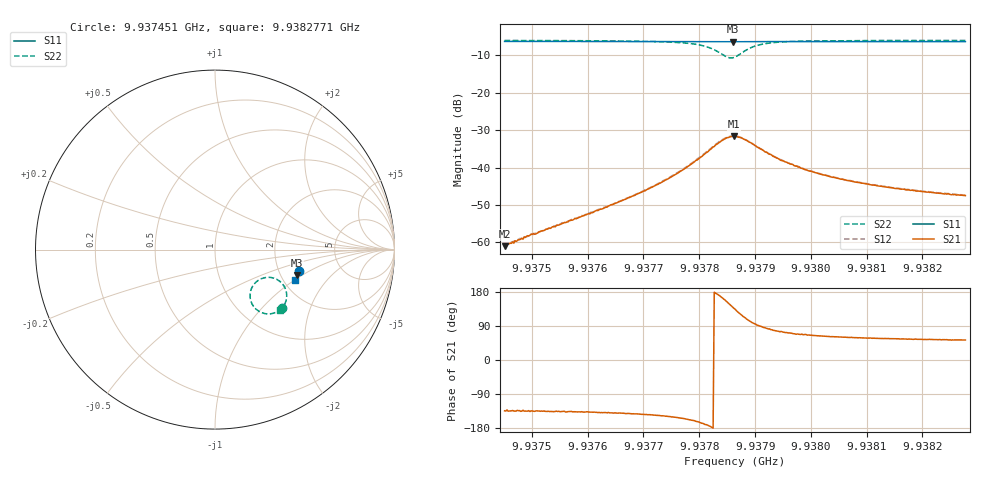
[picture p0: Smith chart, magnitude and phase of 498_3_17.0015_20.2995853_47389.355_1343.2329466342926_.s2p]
#  HZ  S  RI  R  50.00
! Rohde & Schwarz Vector Network Analyzer
! Rohde-Schwarz,ZNB20-2Port,1311601062101988,3.16
! Created: UTC 3/20/2024, 11:14:23 PM
! freq[Hz]  re:S11  im:S11  re:S21  im:S21  re:S12  im:S12  re:S22  im:S22
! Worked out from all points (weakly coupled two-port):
!   401 points, 9.937451 GHz to 9.9382771 GHz, reference 50 ohm
!   highest |S21| = -31.64 dB at 9.937862 GHz (marker M1); lowest = -61.0 dB at 9.937451 GHz (marker M2)
!   lowest |S11| = -6.4 dB at 9.9378599 GHz (marker M3), VSWR 2.83, Z = 122 - j45.4 ohm
!   |S11| at or under -10 dB: nowhere
!   |S22| runs from -10.7 to -6.1 dB; largest |S21 - S12| = 0.0013
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9.93745102e9  0.4683 -0.1184  -0.000621 -0.000641  -0.000647 -0.000675  0.3741 -0.3271
9.93749438e9  0.4673 -0.1213  -0.000845 -0.000887  -0.00088 -0.000851  0.37 -0.3304
9.93758938e9  0.4649 -0.1277  -0.00162 -0.00155  -0.0017 -0.00154  0.3585 -0.3391
9.93766166e9  0.4633 -0.1324  -0.00278 -0.00232  -0.00286 -0.00228  0.3447 -0.347
9.93772775e9  0.4614 -0.137  -0.00508 -0.0034  -0.00526 -0.00335  0.3218 -0.3555
9.93776905e9  0.4602 -0.1399  -0.00823 -0.00405  -0.00842 -0.00397  0.2939 -0.3583
9.93781242e9  0.4583 -0.1427  -0.0156 -0.00259  -0.016 -0.00225  0.2353 -0.3376
9.93782688e9  0.4574 -0.1434  -0.0191 0.000411  -0.0198 0.000963  0.21 -0.3089
9.93784133e9  0.4566 -0.1437  -0.0222 0.00636  -0.0225 0.00708  0.1955 -0.2579
9.93785166e9  0.4563 -0.1436  -0.022 0.0123  -0.0222 0.0132  0.2056 -0.2118
9.93785992e9  0.456 -0.1436  -0.0197 0.0169  -0.0195 0.0179  0.2308 -0.1791
9.93786198e9  0.4562 -0.1435  -0.019 0.018  -0.0187 0.0189  0.2389 -0.1727
9.93786405e9  0.4562 -0.1435  -0.0182 0.0186  -0.0176 0.0198  0.2477 -0.1674
9.93787438e9  0.4565 -0.1436  -0.0126 0.0216  -0.012 0.0223  0.2945 -0.1545
9.93788883e9  0.457 -0.1446  -0.00545 0.0213  -0.00486 0.0218  0.3483 -0.1682
9.93791155e9  0.4572 -0.1462  0.000512 0.0175  0.000962 0.0175  0.3883 -0.2097
9.93794872e9  0.4568 -0.1494  0.00335 0.0119  0.00372 0.012  0.3998 -0.2582
9.93800242e9  0.4556 -0.1532  0.00374 0.00801  0.00391 0.00798  0.3937 -0.2918
9.93806437e9  0.4539 -0.1574  0.00339 0.00582  0.00353 0.00588  0.3848 -0.3108
9.93814078e9  0.4519 -0.1624  0.00301 0.00451  0.00316 0.00452  0.3762 -0.3242
9.93821719e9  0.4497 -0.1672  0.00271 0.00376  0.00283 0.00374  0.3689 -0.3331
9.93827708e9  0.4481 -0.1713  0.00256 0.00336  0.00266 0.0034  0.364 -0.3387
